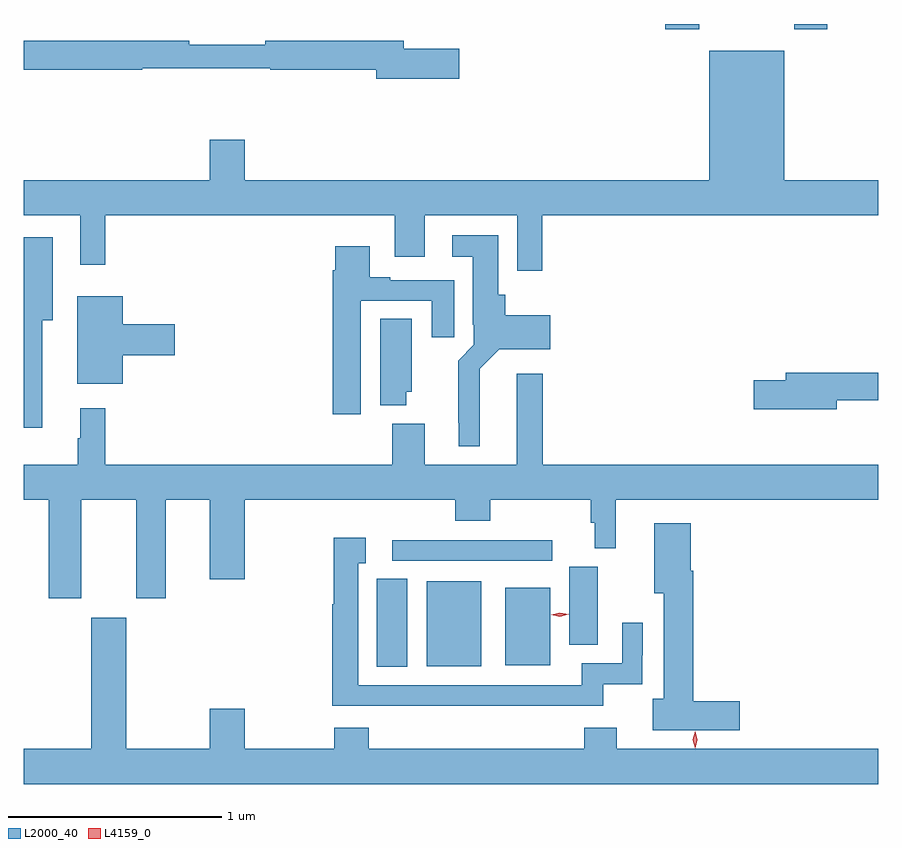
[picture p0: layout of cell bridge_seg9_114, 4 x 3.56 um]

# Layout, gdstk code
import gdstk
lib = gdstk.Library(unit=1e-6, precision=1e-09)
def R(c, l, rs):  # rectangles x0, y0, x1, y1
    for r in rs: c.add(gdstk.rectangle(r[:2], r[2:], *l))
def P(c, l, *ps):  # polygons
    for p in ps: c.add(gdstk.Polygon(p, *l))
L2000_40 = (2000, 40)
L4159_0 = (4159, 0)

bridge_seg9_114 = lib.new_cell('bridge_seg9_114')
R(bridge_seg9_114, L2000_40, [(633.323,1240.924,633.466,1241.336), (633.557,1240.928,633.811,1241.326), (633.923,1240.931,634.135,1241.296), (634.223,1241.027,634.357,1241.394), (633.396,1241.421,634.144,1241.517), (634.673,1243.911,634.833,1243.935), (635.278,1243.911,635.433,1243.935)])
P(bridge_seg9_114, L2000_40, [(633.709,1243.82),(633.448,1243.82),(633.448,1243.856),(632.8,1243.856),(632.8,1243.837),(632.444,1243.837),(632.444,1243.856),(631.67,1243.856),(631.67,1243.72),(632.224,1243.72),(632.224,1243.728),(632.824,1243.728),(632.824,1243.72),(633.32,1243.72),(633.32,1243.678),(633.709,1243.678)],
  [(632.704,1243.393),(632.54,1243.393),(632.54,1243.204),(631.67,1243.204),(631.67,1243.04),(631.934,1243.04),(631.934,1242.807),(632.051,1242.807),(632.051,1243.04),(633.407,1243.04),(633.407,1242.846),(633.547,1242.846),(633.547,1243.04),(633.981,1243.04),(633.981,1242.78),(634.097,1242.78),(634.097,1243.04),(635.67,1243.04),(635.67,1243.204),(635.23,1243.204),(635.23,1243.81),(634.88,1243.81),(634.88,1243.204),(632.704,1243.204)],
  [(633.805,1242.32),(633.897,1242.413),(634.135,1242.413),(634.135,1242.571),(633.923,1242.571),(633.923,1242.666),(633.892,1242.666),(633.892,1242.946),(633.675,1242.946),(633.675,1242.845),(633.773,1242.845),(633.773,1242.526),(633.777,1242.526),(633.777,1242.432),(633.703,1242.358),(633.703,1242.067),(633.707,1242.067),(633.707,1241.957),(633.805,1241.957)],
  [(631.756,1242.548),(631.804,1242.548),(631.804,1242.937),(631.67,1242.937),(631.67,1242.044),(631.756,1242.044)],
  [(633.247,1242.639),(633.581,1242.639),(633.581,1242.468),(633.685,1242.468),(633.685,1242.735),(633.385,1242.735),(633.385,1242.748),(633.289,1242.748),(633.289,1242.895),(633.128,1242.895),(633.128,1242.782),(633.116,1242.782),(633.116,1242.108),(633.247,1242.108)],
  [(632.134,1242.383),(632.377,1242.383),(632.377,1242.53),(632.134,1242.53),(632.134,1242.661),(631.919,1242.661),(631.919,1242.251),(632.134,1242.251)],
  [(633.46,1242.213),(633.487,1242.213),(633.487,1242.554),(633.338,1242.554),(633.338,1242.149),(633.46,1242.149)],
  [(635.476,1242.174),(635.67,1242.174),(635.67,1242.302),(635.237,1242.302),(635.237,1242.266),(635.088,1242.266),(635.088,1242.131),(635.476,1242.131)],
  [(631.939,1241.708),(632.195,1241.708),(632.195,1241.247),(632.335,1241.247),(632.335,1241.708),(632.54,1241.708),(632.54,1241.334),(632.704,1241.334),(632.704,1241.708),(633.689,1241.708),(633.689,1241.609),(633.854,1241.609),(633.854,1241.708),(634.324,1241.708),(634.324,1241.6),(634.343,1241.6),(634.343,1241.479),(634.442,1241.479),(634.442,1241.708),(635.67,1241.708),(635.67,1241.872),(634.1,1241.872),(634.1,1242.298),(633.977,1242.298),(633.977,1241.872),(633.547,1241.872),(633.547,1242.064),(633.395,1242.064),(633.395,1241.872),(632.051,1241.872),(632.051,1242.136),(631.934,1242.136),(631.934,1241.996),(631.923,1241.996),(631.923,1241.872),(631.67,1241.872),(631.67,1241.708),(631.787,1241.708),(631.787,1241.247),(631.939,1241.247)],
  [(635.023,1240.763),(634.805,1240.763),(634.805,1241.374),(634.792,1241.374),(634.792,1241.596),(634.622,1241.596),(634.622,1241.27),(634.667,1241.27),(634.667,1240.776),(634.614,1240.776),(634.614,1240.628),(635.023,1240.628)],
  [(634.383,1240.842),(634.566,1240.842),(634.566,1240.98),(634.569,1240.98),(634.569,1241.131),(634.473,1241.131),(634.473,1240.942),(634.283,1240.942),(634.283,1240.839),(633.235,1240.839),(633.235,1241.409),(633.271,1241.409),(633.271,1241.53),(633.121,1241.53),(633.121,1241.217),(633.114,1241.217),(633.114,1240.742),(634.383,1240.742)],
  [(635.67,1240.54),(634.447,1240.54),(634.447,1240.639),(634.295,1240.639),(634.295,1240.54),(633.284,1240.54),(633.284,1240.639),(633.124,1240.639),(633.124,1240.54),(632.704,1240.54),(632.704,1240.729),(632.54,1240.729),(632.54,1240.54),(632.149,1240.54),(632.149,1241.155),(631.985,1241.155),(631.985,1240.54),(631.67,1240.54),(631.67,1240.376),(635.67,1240.376)])
P(bridge_seg9_114, L4159_0, [(634.18,1241.159),(634.139,1241.168),(634.139,1241.168),(634.139,1241.168),(634.18,1241.179),(634.221,1241.17),(634.221,1241.17),(634.221,1241.17)],
  [(634.813,1240.544),(634.813,1240.544),(634.803,1240.584),(634.813,1240.624),(634.813,1240.624),(634.813,1240.624),(634.823,1240.584),(634.813,1240.544)])

lib.write_gds('bridge_seg9_114.gds')
